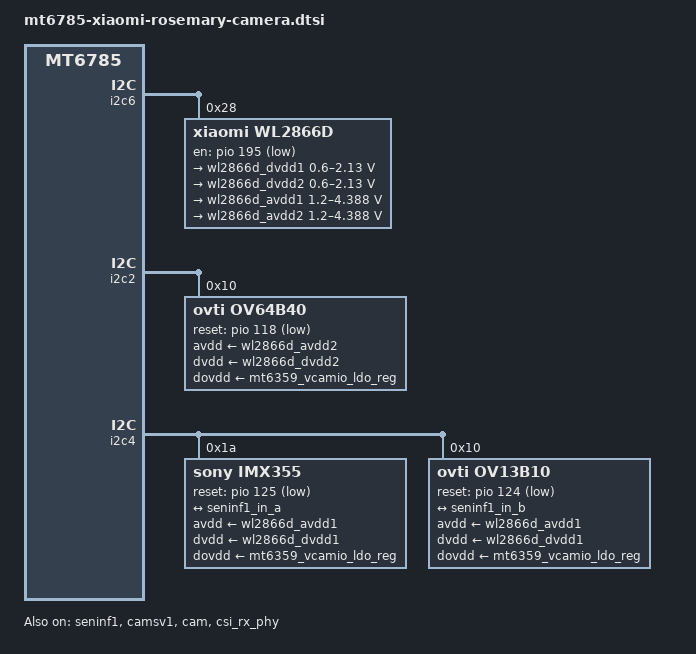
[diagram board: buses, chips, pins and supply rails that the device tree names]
// SPDX-License-Identifier: GPL-2.0-only
/*
 * Poco M5s (rosemary): board nodes of the camera area (poco-m5s/plan-full-phone.md).
 * Included at the end of mt6785-xiaomi-rosemary.dts.
 */

#include <dt-bindings/gpio/gpio.h>
#include <dt-bindings/media/video-interfaces.h>
#include <dt-bindings/pinctrl/mediatek,mt6785-pinfunc.h>

/*
 * The camera LDO controller: address 0x28 on the bus this node's label resolves to (the phone
 * reports it as 0-0028), enable GPIO 195, four outputs feeding the
 * AVDD/DVDD pairs of the phone's camera modules (vendor wl2866d.dtsi:2-44 and the supply
 * wiring in §1.4 of poco-m5s/research/native/5-cameras.md). Voltage windows are the
 * controller's own: outputs 1-2 in 6 mV steps from 600 mV, outputs 3-4 in 12.5 mV steps from
 * 1200 mV. There are no consumers yet - the sensor nodes come with the camera bring-up - so
 * nothing enables the rails until then.
 */
&i2c6 {
	status = "okay";

	wl2866d: regulator@28 {
		compatible = "xiaomi,wl2866d";
		reg = <0x28>;
		en-gpios = <&pio 195 GPIO_ACTIVE_LOW>;

		regulators {
			wl2866d_dvdd1: dvdd1 {
				regulator-name = "wl2866d_dvdd1";
				regulator-min-microvolt = <600000>;
				regulator-max-microvolt = <2130000>;
			};

			wl2866d_dvdd2: dvdd2 {
				regulator-name = "wl2866d_dvdd2";
				regulator-min-microvolt = <600000>;
				regulator-max-microvolt = <2130000>;
			};

			wl2866d_avdd1: avdd1 {
				regulator-name = "wl2866d_avdd1";
				regulator-min-microvolt = <1200000>;
				regulator-max-microvolt = <4387500>;
			};

			wl2866d_avdd2: avdd2 {
				regulator-name = "wl2866d_avdd2";
				regulator-min-microvolt = <1200000>;
				regulator-max-microvolt = <4387500>;
			};
		};
	};
};

/*
 * The two D-PHY sensors the plan starts with (5-cameras.md §5 steps 1 and 3): the back ultra
 * IMX355 and the front OV13B10, both on the "sub" camera bus, both with upstream drivers.
 *
 * Rails are the ones the board's own camera node names, resolved in the live device tree
 * (device-dump-2026-11-12/device-tree.dtb, kd_camera_hw1): cam1 (front) and cam2 (ultra) take
 * vcama/vcamd = wl2866d_avdd1/wl2866d_dvdd1, and every module's I/O is the PMIC's vcamio at
 * 1.8 V. Voltages come from the vendor power tables (5-cameras.md §1.2): 2.7/1.2/1.8 V for the
 * IMX355, 2.8/1.2/1.8 V for the OV13B10.
 *
 * The 24 MHz memory clock is one of the top clock's CAMTG muxes, whose parent list starts with
 * univpll_192m_d8 (clk-mt6785-top.c:222-230); which mux feeds which position is a guess until
 * the phone confirms it - the vendor's own mclk driver picks it at runtime, and for an
 * identification read any of them serves.
 *
 * The endpoints carry the lane count and the link frequency the drivers expect (IMX355 4-lane
 * at 24 MHz: 24 MHz * 60 / (2 * 2) = 360 MHz, imx355.c:131-152; OV13B10:
 * OV13B10_LINK_FREQ_560MHZ, ov13b10.c:573), but nothing consumes them yet: there is no SENINF
 * receiver driver in this tree, and upstream boards do describe the sensor endpoint in that
 * state - the sensor binds and its controls work, only the stream has no sink. When SENINF
 * lands, its port connects to these endpoints unchanged.
 */
/*
 * The main rear sensor, OV64B40-Semco (cam0): i2c2 at 7-bit 0x10 (vendor table 0x20 eight-bit), reset
 * GPIO118, MCLK CAMTG1 on GPIO116 (the stock HAL's sensor table: index MAIN -> MCLK enum 0 -> CMMCLK0,
 * TOP_MUX_CAMTG1, stock-hal-port-map-2026-11-17.md), rails cam0_vcama = wl2866d_avdd2 2.8 V,
 * cam0_vcamd = wl2866d_dvdd2 (1.1 V requested, 1.08 V is what the part's 600 mV + n x 60 mV grid
 * holds) and vcamio 1.8 V (live DT kd_camera_hw1, study 1.2/1.4).
 *
 * Three data lanes and no clock lane: this module is **C-PHY** (vendor
 * ov64b40ofilm_mipi_raw.c:245 `.mipi_sensor_type = MIPI_CPHY`, :253 `SENSOR_MIPI_3_LANE`), the only
 * C-PHY sensor on the board. Its endpoint carries the bus type and the three trios but no remote
 * endpoint yet: the receiver path for C-PHY (a fourth sink pad on SENINF and the mode-2 CSI-2 words)
 * is the next step, and until it exists the node is there for the one cheap fact a trial can produce -
 * the driver probes, powers the module in the vendor's order and reads its chip id (0x566442).
 */
&i2c2 {
	status = "okay";

	ov64b40: camera@10 {
		compatible = "ovti,ov64b40";
		reg = <0x10>;

		clocks = <&topckgen CLK_TOP_CAMTG1>;
		assigned-clocks = <&topckgen CLK_TOP_CAMTG1>;
		assigned-clock-parents = <&topckgen CLK_TOP_UNIVPLL_192M_D8>;
		assigned-clock-rates = <24000000>;

		avdd-supply = <&wl2866d_avdd2>;
		dvdd-supply = <&wl2866d_dvdd2>;
		dovdd-supply = <&mt6359_vcamio_ldo_reg>;
		reset-gpios = <&pio 118 GPIO_ACTIVE_LOW>;
		status = "okay";

		port {
			ov64b40_out: endpoint {
				bus-type = <MEDIA_BUS_TYPE_CSI2_CPHY>;
				data-lanes = <1 2 3>;
			};
		};
	};
};

&i2c4 {
	status = "okay";

	imx355: camera@1a {
		compatible = "sony,imx355";
		reg = <0x1a>;

		/*
		 * CAMTG4, not CAMTG1: the stock HAL's own sensor table puts the rear 8 MP sensor
		 * at index MAIN2, whose MCLK enum 3 resolves to CMMCLK3 on GPIO121 and TOP_MUX_CAMTG4
		 * (scratch/native/5-cameras/vendor-img/libcameracustom.so, getCustomConfig 0x61960,
		 * table 0x1f50c0; decoded in poco-m5s/research/native/5-cameras/
		 * stock-hal-port-map-2026-11-17.md). CAMTG1 is still enabled, because the vendor's
		 * kdSetSensorMclk enables it for every sensor (seninf_clk.c:165-185).
		 */
		clocks = <&topckgen CLK_TOP_CAMTG4>;
		assigned-clocks = <&topckgen CLK_TOP_CAMTG4>;
		assigned-clock-parents = <&topckgen CLK_TOP_UNIVPLL_192M_D8>;
		assigned-clock-rates = <24000000>;

		avdd-supply = <&wl2866d_avdd1>;
		dvdd-supply = <&wl2866d_dvdd1>;
		dovdd-supply = <&mt6359_vcamio_ldo_reg>;
		reset-gpios = <&pio 125 GPIO_ACTIVE_LOW>;
		pinctrl-names = "default";
		pinctrl-0 = <&cam_mclk3_4ma>;

		port {
			imx355_out: endpoint {
				link-frequencies = /bits/ 64 <360000000>;
				data-lanes = <1 2 3 4>;
				remote-endpoint = <&seninf1_in_a>;
			};
		};
	};

	/*
	 * The front sensor answers at 0x10 on this board, not at the first address its driver table
	 * lists: the probe's own reads showed "id at 0x36: no answer" and "id at 0x10: answer 560d42",
	 * and 0x10 is the 7-bit form of the 0x20 the vendor module table carries as the alternate
	 * (ov13b10sunny_mipiraw_Sensor.c:160, `.i2c_addr_table = {0x6C, 0x20, 0xff}` - the vendor
	 * driver tries its list in order at runtime, which a device-tree node cannot do).
	 */
	ov13b10: camera@10 {
		compatible = "ovti,ov13b10";
		reg = <0x10>;

		/*
		 * CAMTG3: the front sensor is index SUB, MCLK enum 2 -> CMMCLK2 on GPIO120 and
		 * TOP_MUX_CAMTG3 in the stock table (same source as above); the tree had CAMTG2.
		 */
		clocks = <&topckgen CLK_TOP_CAMTG3>;
		assigned-clocks = <&topckgen CLK_TOP_CAMTG3>;
		assigned-clock-parents = <&topckgen CLK_TOP_UNIVPLL_192M_D8>;
		assigned-clock-rates = <24000000>;

		avdd-supply = <&wl2866d_avdd1>;
		dvdd-supply = <&wl2866d_dvdd1>;
		dovdd-supply = <&mt6359_vcamio_ldo_reg>;
		reset-gpios = <&pio 124 GPIO_ACTIVE_LOW>;
		pinctrl-names = "default";
		pinctrl-0 = <&cam_mclk2_4ma>;

		port {
			ov13b10_out: endpoint {
				link-frequencies = /bits/ 64 <560000000>;
				data-lanes = <1 2 3 4>;
				remote-endpoint = <&seninf1_in_b>;
			};
		};
	};
};

/*
 * The CSI-2 receiver for the sensors above. It is brought up so that its counters can be read
 * while the capture engine (CAMSV) does not exist yet: the packet counter moving is the proof
 * that a sensor is really streaming on its lanes.
 */
/*
 * Both sensors reach this receiver through the board's MIPI switch, whose select line is GPIO21
 * (stock DT: camera1_mipisel_off/on at gpio21, the pinctrl states the vendor's kd_camera_hw1
 * names cam_mipi_switch_sel_0/1). The vendor drives it per sensor index - SUB (the front OV13B10)
 * high, MAIN2 (the IMX355) low (imgsensor_cfg_table.c:101-145) - so each sensor node says which
 * position it wants and the receiver sets it before starting that sensor.
 */
&seninf1 {
	status = "okay";
	mipi-sel-gpios = <&pio 21 GPIO_ACTIVE_HIGH>;
};

&imx355 {
	mipi-sel-level = <0>;
};

&ov13b10 {
	mipi-sel-level = <1>;
};

/* The capture engine for the same stream, one engine to start with. */
&camsv1 {
	status = "okay";
};

/* The pipeline owner, the receiver and the engine, all on for the trial. */
&cam {
	status = "okay";
};

/* The receiver's analog block: enabled for the trial so the D-PHY is powered for the IMX355. */
&csi_rx_phy {
	status = "okay";
};

/*
 * The camera MCLK pads. The vendor board file drives them the same way, one group per drive
 * strength, four groups each (cust_rosemary_camera.dtsi:133-186: PINMUX_GPIO121__FUNC_CMMCLK3 for
 * the rear 8 MP sensor, PINMUX_GPIO120__FUNC_CMMCLK2 for the front one), and its clock driver picks
 * the 4 mA group as the enabled state (mclk.c:16-23: "off", "2mA", "4mA", "6mA", "8mA";
 * MCLK_STATE_ENABLE = MCLK_STATE_ENABLE_4MA). This tree set neither, so the pads stayed in whatever
 * state the bootloader left them.
 */
&pio {
	cam_mclk3_4ma: cam-mclk3-4ma {
		pins-cmd-dat {
			pinmux = <PINMUX_GPIO121__FUNC_CMMCLK3>;
			drive-strength = <4>;
		};
	};

	cam_mclk2_4ma: cam-mclk2-4ma {
		pins-cmd-dat {
			pinmux = <PINMUX_GPIO120__FUNC_CMMCLK2>;
			drive-strength = <4>;
		};
	};
};
